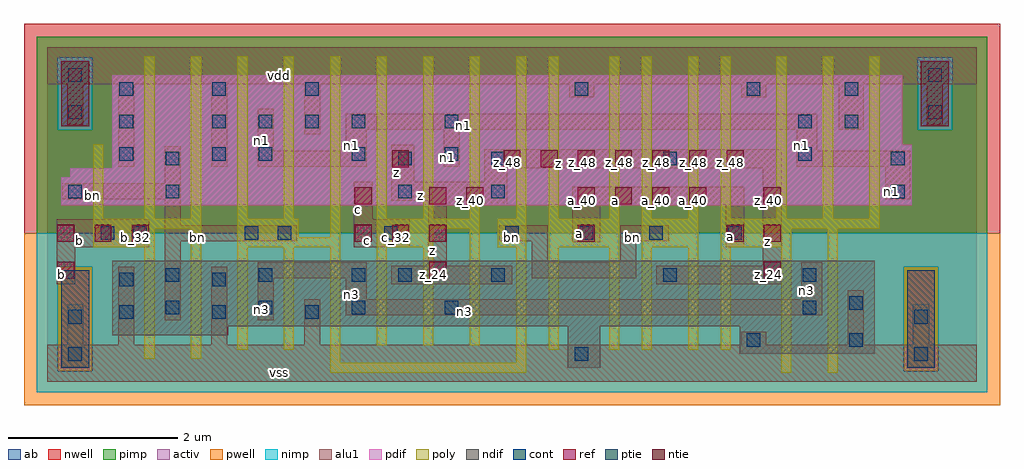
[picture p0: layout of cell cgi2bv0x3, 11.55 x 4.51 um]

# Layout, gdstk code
import gdstk
lib = gdstk.Library(unit=1e-6, precision=2.5e-09)
def R(c, l, rs):  # rectangles x0, y0, x1, y1
    for r in rs: c.add(gdstk.rectangle(r[:2], r[2:], *l))
def A(c, l, x, y, w, h, nx, ny, dx, dy):  # array of equal rectangles
    R(c, l, [(x+i*dx, y+j*dy, x+i*dx+w, y+j*dy+h) for i in range(nx) for j in range(ny)])
ndif = (3, 0)
pdif = (4, 0)
ntie = (5, 0)
ptie = (6, 0)
ref = (24, 0)
cont = (25, 0)
pwell = (41, 0)
nwell = (42, 0)
activ = (43, 0)
pimp = (44, 0)
nimp = (45, 0)
poly = (46, 0)
alu1 = (49, 0)
ab = (63, 0)

cgi2bv0x3 = lib.new_cell('cgi2bv0x3')
R(cgi2bv0x3, ndif, [(6.16,0.165,6.545,0.66), (8.195,0.33,9.79,0.66), (0.77,0.55,2.145,0.66), (0.77,0.66,9.79,1.43)])
R(cgi2bv0x3, pdif, [(0.165,2.09,10.23,2.42), (0.275,2.42,10.23,2.53), (0.77,2.53,10.23,2.805), (0.77,2.805,10.12,3.63)])
R(cgi2bv0x3, ntie, [(0.165,3.025,0.495,3.795), (10.34,3.025,10.67,3.795)])
R(cgi2bv0x3, ptie, [(0.165,0.165,0.495,1.32), (10.175,0.165,10.505,1.32)])
A(cgi2bv0x3, ref, 8.48, 1.22, 0.2, 0.2, 1, 3, 0, 0.44)
A(cgi2bv0x3, ref, 0.12, 1.66, 0.2, 0.2, 3, 1, 0.44, 0)
A(cgi2bv0x3, ref, 3.64, 1.66, 0.2, 0.2, 3, 1, 0.44, 0)
A(cgi2bv0x3, ref, 6.28, 2.1, 0.2, 0.2, 4, 1, 0.44, 0)
A(cgi2bv0x3, ref, 5.4, 2.54, 0.2, 0.2, 7, 1, 0.44, 0)
R(cgi2bv0x3, ref, [(0.12,1.22,0.32,1.42), (4.52,1.22,4.72,1.42), (6.28,1.66,6.48,1.86), (8.04,1.66,8.24,1.86), (3.64,2.1,3.84,2.3), (4.52,2.1,4.72,2.3), (4.96,2.1,5.16,2.3), (4.08,2.54,4.28,2.74)])
A(cgi2bv0x3, cont, 0.855, 0.745, 0.16, 0.16, 3, 2, 1.1, 2.64)
A(cgi2bv0x3, cont, 1.405, 0.8, 0.16, 0.16, 4, 1, 1.1, 0)
A(cgi2bv0x3, cont, 1.405, 1.185, 0.16, 0.16, 3, 1, 1.1, 0)
A(cgi2bv0x3, cont, 2.505, 2.615, 0.16, 0.16, 3, 1, 1.1, 0)
A(cgi2bv0x3, cont, 1.955, 3, 0.16, 0.16, 4, 1, 0.55, 0)
R(cgi2bv0x3, cont, [(0.25,0.25,0.41,0.41), (6.245,0.25,6.405,0.41), (10.26,0.25,10.42,0.41), (8.28,0.415,8.44,0.575), (9.49,0.415,9.65,0.575), (0.25,0.69,0.41,0.85), (10.26,0.69,10.42,0.85), (8.94,0.8,9.1,0.96), (9.49,0.855,9.65,1.015), (0.855,1.13,1.015,1.29), (1.955,1.13,2.115,1.29), (4.155,1.185,4.315,1.345), (5.255,1.185,5.415,1.345), (7.29,1.185,7.45,1.345), (8.94,1.185,9.1,1.345), (0.635,1.68,0.795,1.84), (1.02,1.68,1.18,1.84), (2.34,1.68,2.5,1.84), (2.725,1.68,2.885,1.84), (3.99,1.68,4.15,1.84), (5.42,1.68,5.58,1.84), (6.3,1.68,6.46,1.84), (7.125,1.68,7.285,1.84), (8.06,1.68,8.22,1.84), (0.25,2.175,0.41,2.335), (1.405,2.175,1.565,2.335), (4.155,2.175,4.315,2.335), (5.255,2.175,5.415,2.335), (9.985,2.175,10.145,2.335), (1.405,2.56,1.565,2.72), (4.155,2.56,4.315,2.72), (5.255,2.56,5.415,2.72), (7.29,2.56,7.45,2.72), (9.985,2.56,10.145,2.72), (0.855,2.615,1.015,2.775), (1.955,2.615,2.115,2.775), (8.885,2.615,9.045,2.775), (0.855,3,1.015,3.16), (4.705,3,4.865,3.16), (8.885,3,9.045,3.16), (9.435,3,9.595,3.16), (0.25,3.11,0.41,3.27), (10.425,3.11,10.585,3.27), (6.245,3.385,6.405,3.545), (8.28,3.385,8.44,3.545), (9.435,3.385,9.595,3.545), (0.25,3.55,0.41,3.71), (10.425,3.55,10.585,3.71)])
R(cgi2bv0x3, pwell, [(-0.275,-0.275,11.275,1.76)])
R(cgi2bv0x3, nwell, [(-0.275,1.76,11.275,4.235)])
R(cgi2bv0x3, activ, [(0.165,0.165,0.495,1.32), (6.16,0.165,6.545,0.66), (10.175,0.165,10.505,1.32), (8.195,0.33,9.79,0.66), (0.77,0.55,2.145,0.66), (0.77,0.66,9.79,1.43), (0.165,2.09,10.23,2.42), (0.275,2.42,10.23,2.53), (0.77,2.53,10.23,2.805), (0.77,2.805,10.12,3.63), (0.165,3.025,0.495,3.795), (10.34,3.025,10.67,3.795)])
R(cgi2bv0x3, pimp, [(0.125,0.125,0.535,1.36), (10.135,0.125,10.545,1.36), (-0.125,1.76,11.125,2.985), (-0.125,2.985,0.125,3.835), (0.535,2.985,10.3,3.835), (10.71,2.985,11.125,3.835), (-0.125,3.835,11.125,4.085)])
R(cgi2bv0x3, nimp, [(-0.125,-0.125,11.125,0.125), (-0.125,0.125,0.125,1.36), (0.535,0.125,10.135,1.36), (10.545,0.125,11.125,1.36), (-0.125,1.36,11.125,1.76), (0.125,2.985,0.535,3.835), (10.3,2.985,10.71,3.835)])
A(cgi2bv0x3, poly, 1.15, 1.93, 0.12, 1.925, 4, 1, 0.55, 0)
A(cgi2bv0x3, poly, 3.9, 1.93, 0.12, 1.925, 4, 1, 0.55, 0)
A(cgi2bv0x3, poly, 8.63, 1.93, 0.12, 1.925, 3, 1, 0.55, 0)
R(cgi2bv0x3, poly, [(3.35,0.105,5.67,0.225), (8.685,0.105,8.805,1.59), (9.235,0.105,9.355,1.81), (3.35,0.225,3.47,1.59), (5.55,0.225,5.67,1.59), (1.15,0.27,1.27,1.59), (1.7,0.27,1.82,1.81), (2.25,0.38,2.37,1.59), (2.8,0.38,2.92,1.59), (5.935,0.38,6.055,1.59), (6.65,0.38,6.77,1.59), (7.035,0.38,7.155,1.59), (7.585,0.38,7.705,1.59), (7.97,0.38,8.09,1.59), (3.9,0.435,4.02,1.59), (4.45,0.435,4.57,1.59), (5,0.435,5.12,1.81), (0.545,1.59,1.27,1.81), (2.25,1.59,3.47,1.71), (3.9,1.59,4.57,1.81), (5.33,1.59,5.67,1.93), (5.935,1.59,6.77,1.93), (7.035,1.59,7.705,1.93), (7.97,1.59,8.805,1.81), (2.25,1.71,2.975,1.93), (3.35,1.71,3.47,3.855), (0.545,1.81,1.82,1.93), (3.9,1.81,5.12,1.93), (7.97,1.81,9.85,1.93), (0.545,1.93,0.665,2.81), (5.935,1.93,6.055,3.855), (6.65,1.93,6.77,3.855), (7.035,1.93,7.155,3.855), (7.585,1.93,7.705,3.855), (7.97,1.93,8.09,3.855)])
R(cgi2bv0x3, alu1, [(0,0,11,0.44), (0.235,0.44,0.425,0.92), (0.84,0.44,1.03,1.36), (1.94,0.44,2.13,1.36), (3.04,0.44,3.23,0.975), (8.21,0.44,8.51,0.59), (9.475,0.44,9.665,1.085), (10.245,0.44,10.435,0.92), (1.39,0.73,1.58,1.665), (2.49,0.73,2.68,1.225), (3.535,0.785,9.17,0.975), (3.535,0.975,3.78,1.225), (8.925,0.975,9.17,1.415), (0.11,1.155,0.33,1.595), (4.07,1.155,5.5,1.375), (7.205,1.155,8.69,1.375), (2.49,1.225,3.78,1.415), (5.735,1.225,6.97,1.415), (4.51,1.375,4.73,2.09), (8.47,1.375,8.69,2.53), (5.735,1.415,5.925,1.665), (6.78,1.415,6.97,1.665), (0.11,1.595,1.21,1.925), (3.63,1.595,4.29,1.925), (8.03,1.595,8.25,2.09), (6.215,1.65,6.545,2.09), (1.39,1.665,2.955,1.855), (5.35,1.665,5.925,1.855), (6.78,1.665,7.355,1.855), (1.39,1.855,1.58,2.16), (3.63,1.925,3.85,2.365), (4.51,2.09,5.445,2.145), (6.215,2.09,8.25,2.31), (4.07,2.145,5.445,2.365), (0.18,2.16,1.58,2.35), (9.915,2.16,10.215,2.545), (1.39,2.35,1.58,2.79), (4.07,2.365,4.345,2.805), (5.17,2.365,5.445,2.53), (5.17,2.53,8.69,2.75), (0.84,2.545,1.03,3.52), (1.94,2.545,2.13,3.52), (2.49,2.545,3.78,2.735), (4.69,2.545,4.88,2.985), (8.87,2.545,10.215,2.735), (2.49,2.735,2.68,3.23), (3.535,2.735,3.78,2.985), (8.87,2.735,9.115,2.985), (3.04,2.93,3.23,3.52), (3.535,2.985,9.115,3.175), (9.365,2.985,9.665,3.52), (0.235,3.04,0.425,3.52), (10.41,3.04,10.6,3.52), (6.175,3.37,6.475,3.52), (8.21,3.37,8.51,3.52), (0,3.52,11,3.96)])
R(cgi2bv0x3, ab, [(0,0,11,3.96)])
cgi2bv0x3.add(gdstk.Label('vss', (2.75,0.11), layer=49, texttype=0))
cgi2bv0x3.add(gdstk.Label('n3', (4.9425,0.8325), layer=49, texttype=0))
cgi2bv0x3.add(gdstk.Label('n3', (8.985,1.085), layer=49, texttype=0))
cgi2bv0x3.add(gdstk.Label('n1', (9.99,2.255), layer=49, texttype=0))
cgi2bv0x3.add(gdstk.Label('z', (8.525,1.6625), layer=49, texttype=0))
cgi2bv0x3.add(gdstk.Label('n3', (3.595,1.0375), layer=49, texttype=0))
cgi2bv0x3.add(gdstk.Label('n3', (2.5375,0.8525), layer=49, texttype=0))
cgi2bv0x3.add(gdstk.Label('a', (8.085,1.7175), layer=49, texttype=0))
cgi2bv0x3.add(gdstk.Label('bn', (6.9225,1.7125), layer=49, texttype=0))
cgi2bv0x3.add(gdstk.Label('a', (6.2975,1.76), layer=49, texttype=0))
cgi2bv0x3.add(gdstk.Label('bn', (5.4925,1.7125), layer=49, texttype=0))
cgi2bv0x3.add(gdstk.Label('z', (4.565,1.5525), layer=49, texttype=0))
cgi2bv0x3.add(gdstk.Label('c', (3.795,1.6775), layer=49, texttype=0))
cgi2bv0x3.add(gdstk.Label('b', (0.165,1.265), layer=49, texttype=0))
cgi2bv0x3.add(gdstk.Label('bn', (1.78,1.7125), layer=49, texttype=0))
cgi2bv0x3.add(gdstk.Label('a', (6.7225,2.145), layer=49, texttype=0))
cgi2bv0x3.add(gdstk.Label('z', (4.4125,2.2), layer=49, texttype=0))
cgi2bv0x3.add(gdstk.Label('c', (3.685,2.035), layer=49, texttype=0))
cgi2bv0x3.add(gdstk.Label('b', (0.385,1.6775), layer=49, texttype=0))
cgi2bv0x3.add(gdstk.Label('bn', (0.53,2.2075), layer=49, texttype=0))
cgi2bv0x3.add(gdstk.Label('n1', (8.93,2.7975), layer=49, texttype=0))
cgi2bv0x3.add(gdstk.Label('z', (6.05,2.585), layer=49, texttype=0))
cgi2bv0x3.add(gdstk.Label('n1', (4.7375,2.655), layer=49, texttype=0))
cgi2bv0x3.add(gdstk.Label('z', (4.1375,2.475), layer=49, texttype=0))
cgi2bv0x3.add(gdstk.Label('n1', (3.595,2.7975), layer=49, texttype=0))
cgi2bv0x3.add(gdstk.Label('n1', (4.93,3.0325), layer=49, texttype=0))
cgi2bv0x3.add(gdstk.Label('n1', (2.5375,2.8575), layer=49, texttype=0))
cgi2bv0x3.add(gdstk.Label('vdd', (2.75,3.63), layer=49, texttype=0))
cgi2bv0x3.add(gdstk.Label('z_40', (5.01,2.15), layer=24, texttype=0))
cgi2bv0x3.add(gdstk.Label('z_24', (4.57,1.27), layer=24, texttype=0))
cgi2bv0x3.add(gdstk.Label('z_32', (4.57,1.71), layer=24, texttype=0))
cgi2bv0x3.add(gdstk.Label('z_48', (4.13,2.59), layer=24, texttype=0))
cgi2bv0x3.add(gdstk.Label('z_40', (4.57,2.15), layer=24, texttype=0))
cgi2bv0x3.add(gdstk.Label('a_40', (7.65,2.15), layer=24, texttype=0))
cgi2bv0x3.add(gdstk.Label('z_48', (7.21,2.59), layer=24, texttype=0))
cgi2bv0x3.add(gdstk.Label('a_40', (7.21,2.15), layer=24, texttype=0))
cgi2bv0x3.add(gdstk.Label('z_40', (8.53,2.15), layer=24, texttype=0))
cgi2bv0x3.add(gdstk.Label('z_32', (8.53,1.71), layer=24, texttype=0))
cgi2bv0x3.add(gdstk.Label('z_24', (8.53,1.27), layer=24, texttype=0))
cgi2bv0x3.add(gdstk.Label('z_48', (8.09,2.59), layer=24, texttype=0))
cgi2bv0x3.add(gdstk.Label('a_32', (8.09,1.71), layer=24, texttype=0))
cgi2bv0x3.add(gdstk.Label('z_48', (7.65,2.59), layer=24, texttype=0))
cgi2bv0x3.add(gdstk.Label('z_48', (5.45,2.59), layer=24, texttype=0))
cgi2bv0x3.add(gdstk.Label('z_48', (6.77,2.59), layer=24, texttype=0))
cgi2bv0x3.add(gdstk.Label('a_40', (6.77,2.15), layer=24, texttype=0))
cgi2bv0x3.add(gdstk.Label('z_48', (6.33,2.59), layer=24, texttype=0))
cgi2bv0x3.add(gdstk.Label('a_40', (6.33,2.15), layer=24, texttype=0))
cgi2bv0x3.add(gdstk.Label('a_32', (6.33,1.71), layer=24, texttype=0))
cgi2bv0x3.add(gdstk.Label('z_48', (5.89,2.59), layer=24, texttype=0))
cgi2bv0x3.add(gdstk.Label('c_32', (4.13,1.71), layer=24, texttype=0))
cgi2bv0x3.add(gdstk.Label('c_32', (3.69,1.71), layer=24, texttype=0))
cgi2bv0x3.add(gdstk.Label('c_40', (3.69,2.15), layer=24, texttype=0))
cgi2bv0x3.add(gdstk.Label('b_32', (1.05,1.71), layer=24, texttype=0))
cgi2bv0x3.add(gdstk.Label('b_32', (0.61,1.71), layer=24, texttype=0))
cgi2bv0x3.add(gdstk.Label('b_24', (0.17,1.27), layer=24, texttype=0))
cgi2bv0x3.add(gdstk.Label('b_32', (0.17,1.71), layer=24, texttype=0))

lib.write_gds('cgi2bv0x3.gds')
